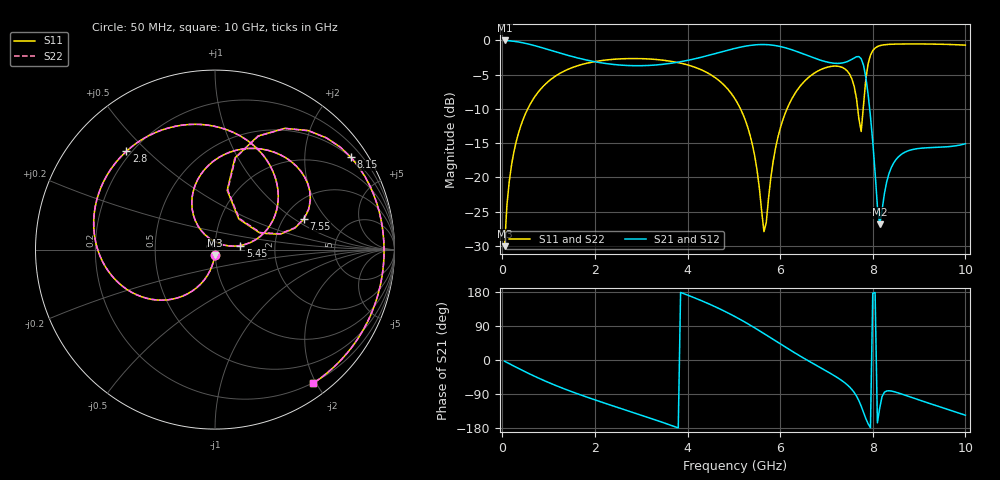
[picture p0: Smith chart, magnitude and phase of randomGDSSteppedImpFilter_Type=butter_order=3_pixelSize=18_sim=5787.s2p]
! freq	dB(S11)	phase(S11)	dB(S12)	phase(S12)
!  dB(S21)	phase(S21)	dB(S22)	phase(S22)
!S-par simulation data
#  GHz  S  DB  R 50
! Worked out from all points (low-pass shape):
!   200 points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, 50 MHz to 10 GHz, reference 50 ohm
!   highest |S21| = -0.01 dB at 50 MHz (marker M1); lowest = -26.9 dB at 8.15 GHz (marker M2)
!   |S21| within 3 dB of the highest: start of sweep to 1.919 GHz; 3.932 GHz to 6.928 GHz (2.997 GHz wide, 55.2 % of centre) (the widest 2 of 3)
!   lowest |S11| = -30.0 dB at 50 MHz (marker M3), VSWR 1.06, Z = 49.7 - j3.13 ohm
!   |S11| at or under -10 dB: start of sweep to 549.1 MHz; 5.144 GHz to 6.148 GHz (1.004 GHz wide, 17.8 % of centre); 7.675 GHz to 7.793 GHz (118 MHz wide, 1.53 % of centre)
!   |S22| runs from -30.0 to -0.5 dB; largest |S21 - S12| = 0
!   S11 on the Smith chart (normalised r, x): 50 MHz: 0.99, -0.06; 2.8 GHz: 0.18, +0.43; 5.45 GHz: 1.33, +0.06; 7.55 GHz: 2.56, +1.19; 8.15 GHz: 0.50, +3.17; 10 GHz: 0.19, -1.96
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0.05  -30.04 -93.5  -0.01 -3.3  -0.01 -3.3  -30.04 -93.5
0.2  -18.17 -103.5  -0.09 -12.8  -0.09 -12.8  -18.17 -103.5
0.5  -10.71 -122.0  -0.43 -31.4  -0.43 -31.4  -10.71 -122.0
1.05  -5.69 -152.5  -1.45 -62.0  -1.45 -62.0  -5.69 -152.5
1.75  -3.46 174.7  -2.76 -94.7  -2.76 -94.7  -3.46 174.7
2.8  -2.65 132.1  -3.69 -137.4  -3.69 -137.4  -2.65 132.1
3.4  -2.84 107.8  -3.54 -162.0  -3.54 -162.0  -2.84 107.8
4.35  -4.46 64.9  -2.37 154.0  -2.37 154.0  -4.46 64.9
5.05  -8.82 26.9  -1.12 112.9  -1.12 112.9  -8.82 27.0
5.45  -16.85 9.0  -0.65 84.9  -0.65 84.9  -16.84 9.1
5.65  -27.93 56.5  -0.60 69.8  -0.60 69.8  -27.91 56.6
6.05  -11.77 119.5  -0.97 38.9  -0.97 38.9  -11.77 119.5
6.7  -4.95 78.0  -2.49 -8.6  -2.49 -8.6  -4.95 78.1
7.15  -3.76 49.0  -3.32 -40.0  -3.32 -40.0  -3.76 49.1
7.55  -5.64 18.8  -2.75 -77.9  -2.75 -77.9  -5.63 19.1
7.75  -13.30 52.2  -2.68 -121.9  -2.68 -121.9  -13.16 52.2
7.8  -9.45 78.4  -3.62 -138.2  -3.62 -138.2  -9.39 78.0
7.95  -2.16 60.1  -11.10 -178.5  -11.10 -178.5  -2.16 59.9
8.15  -0.77 34.3  -26.87 -126.7  -26.87 -126.7  -0.77 34.2
8.35  -0.58 19.0  -19.45 -81.1  -19.45 -81.1  -0.58 19.0
9.1  -0.52 -17.7  -15.71 -109.6  -15.71 -109.6  -0.52 -17.7
10  -0.69 -53.6  -15.09 -145.7  -15.09 -145.7  -0.69 -53.6
